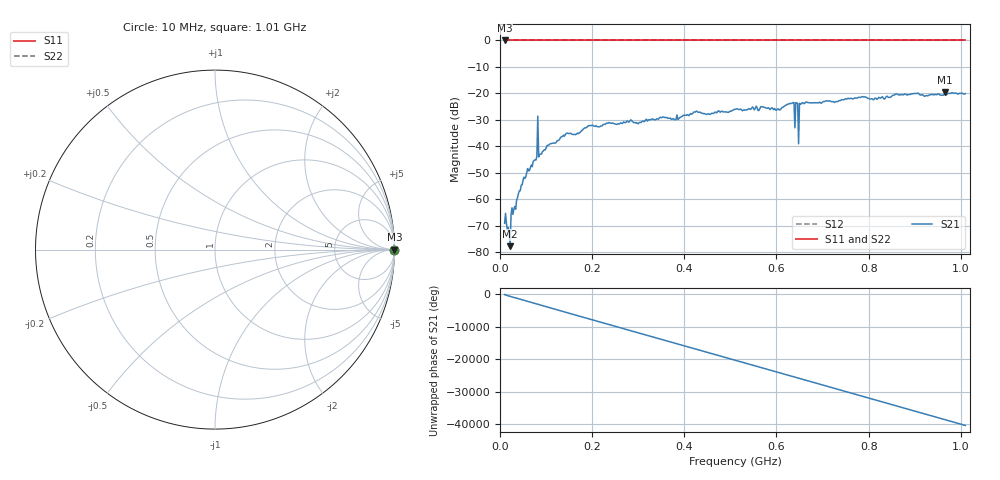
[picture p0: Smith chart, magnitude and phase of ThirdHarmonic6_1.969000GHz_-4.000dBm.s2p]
! 8/16/2025 11:41:12 PM
! C:\ANRITSUVNA\TEMP\TEMP.S2P
! CHANNEL.1
! TR.MEASUREMENT
! RAW.DATA
! RF.CORRECTION.OFF
! AVERAGING.OFF
! IF.BANDWIDTH: 5KHZ
! SWEEPTYPE:  FREQ.SWEEP(Linear)
! Reference Plane Port Info
! PORT:  PORT1  PORT2
! DISTANCE:  0  m  0  m
! TIME:  0  s  0  s
! PHASE.OFFSET:  0  deg.  0  deg.
! LOSS:  0  dB  0  dB
! REF.LOSS:  0  dB  0  dB
! REF.FREQ:  0  Hz  0  Hz
! Power Info
! POWER:  -20  dBm  -20  dBm
! EFF.POWER:  -20  dBm  -20  dBm
! SOURCE.ATTEN:  0  dB  0  dB
! TEST.ATTEN:  0  dB  0  dB
# GHZ S RI R 50.0
! FREQ.GHZ  S11RE  S11IM  S21RE  S21IM  S12RE  S12IM  S22RE  S22IM
!; PortSelection: Port_12
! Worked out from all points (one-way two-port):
!   501 points, 10 MHz to 1.01 GHz, reference 50 ohm
!   highest |S21| = -19.65 dB at 966 MHz (marker M1); lowest = -77.8 dB at 22 MHz (marker M2)
!   lowest |S11| = 0.0 dB at 10 MHz (marker M3)
!   |S11| at or under -10 dB: nowhere
!   |S22| runs from 0.0 to 0.0 dB; largest |S21 - S12| = 1.1
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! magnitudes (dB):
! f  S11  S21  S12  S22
! 10 MHz  0.0  -69.2  0.0  0.0
! 18 MHz  0.0  -70.7  0.0  0.0
! 22 MHz  0.0  -77.8  0.0  0.0
! 28 MHz  0.0  -65.8  0.0  0.0
! 56 MHz  0.0  -51.6  0.0  0.0
! 76 MHz  0.0  -45.1  0.0  0.0
! 78 MHz  0.0  -45.2  0.0  0.0
! 86 MHz  0.0  -43.2  0.0  0.0
! 88 MHz  0.0  -42.9  0.0  0.0
! 142 MHz  0.0  -35.5  0.0  0.0
! 178 MHz  0.0  -34.0  0.0  0.0
! 344 MHz  0.0  -29.7  0.0  0.0
! 510 MHz  0.0  -26.0  0.0  0.0
! 634 MHz  0.0  -23.7  0.0  0.0
! 642 MHz  0.0  -23.5  0.0  0.0
! 644 MHz  0.0  -23.6  0.0  0.0
! 652 MHz  0.0  -24.0  0.0  0.0
! 654 MHz  0.0  -24.0  0.0  0.0
! 678 MHz  0.0  -23.6  0.0  0.0
! 844 MHz  0.0  -21.5  0.0  0.0
! 966 MHz  0.0  -19.6  0.0  0.0
! 1.01 GHz  0.0  -20.1  0.0  0.0
